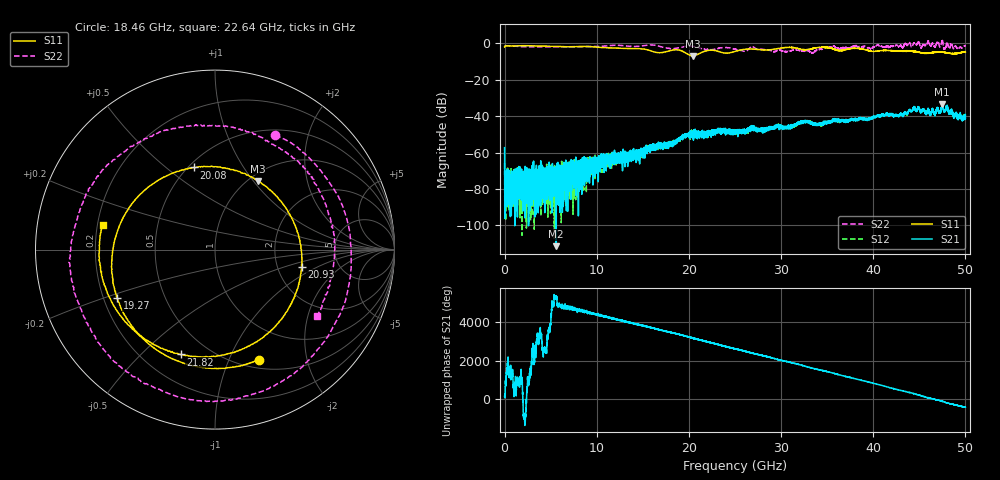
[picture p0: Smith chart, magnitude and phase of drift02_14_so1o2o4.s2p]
!Created with skrf (http://scikit-rf.org).
# Hz S RI R 50.0
!freq ReS11 ImS11 ReS21 ImS21 ReS12 ImS12 ReS22 ImS22
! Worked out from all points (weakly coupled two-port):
!   10001 points, 300 kHz to 50 GHz, reference 50 ohm
!   highest |S21| = -33.56 dB at 47.45 GHz (marker M1); lowest = -111.4 dB at 5.605 GHz (marker M2)
!   lowest |S11| = -6.9 dB at 20.41 GHz (marker M3), VSWR 2.64, Z = 54.9 + j52.6 ohm
!   |S11| at or under -10 dB: nowhere
!   |S22| runs from -5.4 to 1.5 dB; largest |S21 - S12| = 0.0032
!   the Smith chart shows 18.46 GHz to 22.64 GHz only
!   S11 on the Smith chart (normalised r, x): 18.46 GHz: 0.59, -1.29; 19.27 GHz: 0.26, -0.22; 20.08 GHz: 0.53, +0.63; 20.93 GHz: 2.73, -0.69; 21.82 GHz: 0.35, -0.66; 22.64 GHz: 0.22, +0.10
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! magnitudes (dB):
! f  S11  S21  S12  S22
! 300 kHz  -2.1  -57.3  -65.8  -1.3
! 255.3 MHz  -1.4  -73.7  -77.0  -1.4
! 405.3 MHz  -1.4  -85.8  -75.7  -1.4
! 3.435 GHz  -1.5  -78.3  -79.6  -2.0
! 3.93 GHz  -1.5  -73.2  -76.6  -2.0
! 5.605 GHz  -1.7  -111.4  -74.1  -2.0
! 8.335 GHz  -1.7  -69.0  -74.9  -1.9
! 16.67 GHz  -5.2  -56.5  -57.2  -1.5
! 18.46 GHz  -3.6  -53.8  -54.4  -2.9
! 19.27 GHz  -4.3  -51.8  -51.4  -2.1
! 20.08 GHz  -6.5  -49.6  -50.1  -1.5
! 20.41 GHz  -6.9  -50.4  -50.1  -1.7
! 20.93 GHz  -6.2  -50.2  -50.4  -2.3
! 21.82 GHz  -4.2  -51.0  -50.3  -3.5
! 22.64 GHz  -3.9  -48.3  -48.9  -3.4
! 25 GHz  -4.5  -48.4  -49.0  -3.2
! 26.9 GHz  -3.2  -47.3  -45.9  -1.7
! 33.34 GHz  -3.0  -43.9  -44.2  -5.2
! 34.91 GHz  -2.3  -43.2  -43.4  -2.1
! 41.67 GHz  -4.0  -39.0  -39.3  -2.2
! 47.45 GHz  -4.9  -33.6  -34.7  0.8
! 50 GHz  -4.8  -41.2  -40.5  -1.5
